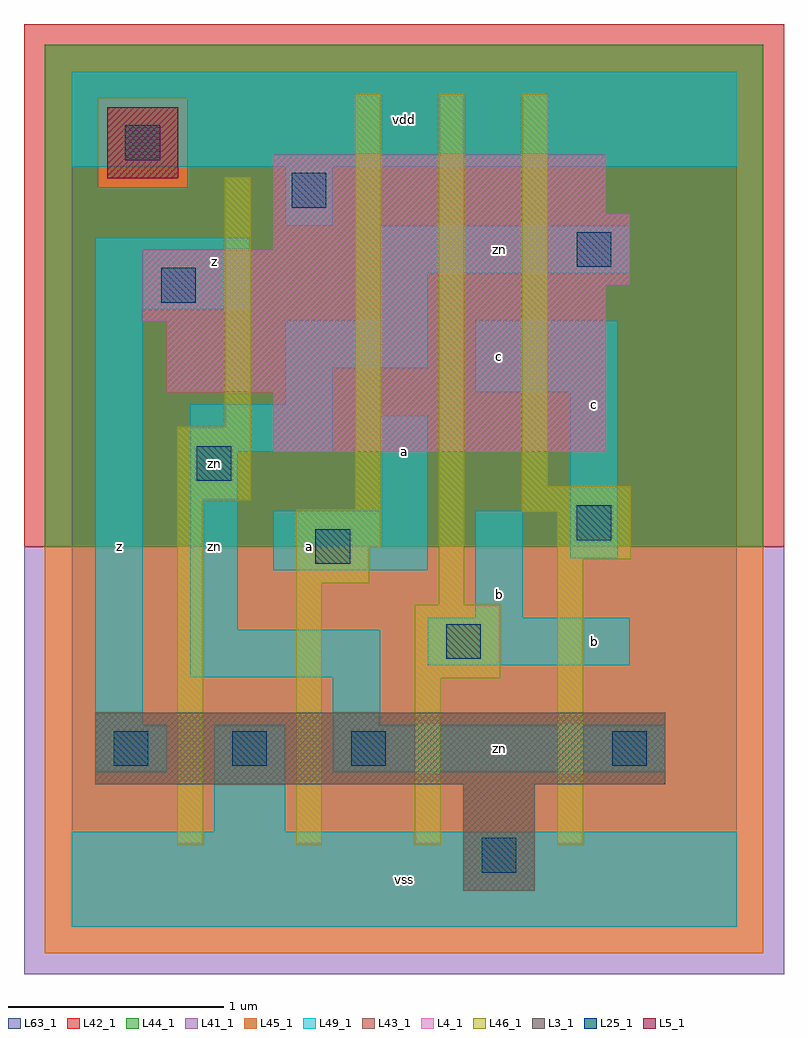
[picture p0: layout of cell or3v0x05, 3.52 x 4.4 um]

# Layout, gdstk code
import gdstk
lib = gdstk.Library(unit=1e-6, precision=1e-09)
def R(c, l, rs):  # rectangles x0, y0, x1, y1
    for r in rs: c.add(gdstk.rectangle(r[:2], r[2:], *l))
def A(c, l, x, y, w, h, nx, ny, dx, dy):  # array of equal rectangles
    R(c, l, [(x+i*dx, y+j*dy, x+i*dx+w, y+j*dy+h) for i in range(nx) for j in range(ny)])
L3_1 = (3, 1)
L4_1 = (4, 1)
L5_1 = (5, 1)
L25_1 = (25, 1)
L41_1 = (41, 1)
L42_1 = (42, 1)
L43_1 = (43, 1)
L44_1 = (44, 1)
L45_1 = (45, 1)
L46_1 = (46, 1)
L49_1 = (49, 1)
L63_1 = (63, 1)

or3v0x05 = lib.new_cell('or3v0x05')
R(or3v0x05, L3_1, [(1.815,0.165,2.145,0.66), (0.11,0.66,2.75,0.99)])
R(or3v0x05, L4_1, [(0.935,2.2,2.475,2.475), (0.44,2.475,2.475,2.805), (0.33,2.805,2.475,2.97), (0.33,2.97,2.585,3.135), (0.935,3.135,2.585,3.3), (0.935,3.3,2.475,3.575)])
R(or3v0x05, L5_1, [(0.165,3.465,0.495,3.795)])
A(or3v0x05, L25_1, 0.195, 0.745, 0.16, 0.16, 3, 1, 0.55, 0)
R(or3v0x05, L25_1, [(1.9,0.25,2.06,0.41), (2.505,0.745,2.665,0.905), (1.735,1.24,1.895,1.4), (1.13,1.68,1.29,1.84), (2.34,1.79,2.5,1.95), (0.58,2.065,0.74,2.225), (0.415,2.89,0.575,3.05), (2.34,3.055,2.5,3.215), (1.02,3.33,1.18,3.49), (0.25,3.55,0.41,3.71)])
R(or3v0x05, L41_1, [(-0.22,-0.22,3.3,1.76)])
R(or3v0x05, L42_1, [(-0.22,1.76,3.3,4.18)])
R(or3v0x05, L43_1, [(1.815,0.165,2.145,0.66), (0.11,0.66,2.75,0.99), (0.935,2.2,2.475,2.475), (0.44,2.475,2.475,2.805), (0.33,2.805,2.475,2.97), (0.33,2.97,2.585,3.135), (0.935,3.135,2.585,3.3), (0.935,3.3,2.475,3.575), (0.165,3.465,0.495,3.795)])
R(or3v0x05, L44_1, [(-0.125,1.76,3.205,3.425), (-0.125,3.425,0.125,3.835), (0.535,3.425,3.205,3.835), (-0.125,3.835,3.205,4.085)])
R(or3v0x05, L45_1, [(-0.125,-0.125,3.205,1.76), (0.125,3.425,0.535,3.835)])
R(or3v0x05, L46_1, [(0.49,0.38,0.61,1.975), (1.04,0.38,1.16,1.59), (1.59,0.38,1.71,1.15), (2.25,0.38,2.37,1.7), (1.59,1.15,1.985,1.49), (1.7,1.49,1.82,3.855), (1.04,1.59,1.38,1.755), (2.25,1.7,2.59,1.92), (1.04,1.755,1.435,1.93), (2.085,1.92,2.59,2.04), (1.315,1.93,1.435,3.855), (0.49,1.975,0.83,2.315), (2.085,2.04,2.205,3.855), (0.71,2.315,0.83,3.47)])
R(or3v0x05, L49_1, [(0,0,3.08,0.44), (0.66,0.44,0.99,0.935), (0.11,0.715,0.44,0.935), (1.21,0.715,2.75,0.935), (0.11,0.935,0.33,2.86), (1.21,0.935,1.43,1.155), (0.55,1.155,1.43,1.375), (1.65,1.21,2.585,1.43), (0.55,1.375,0.77,2.2), (1.87,1.43,2.09,1.925), (0.935,1.65,1.65,1.925), (2.31,1.705,2.53,2.475), (1.43,1.925,1.65,2.365), (0.55,2.2,1.21,2.42), (0.99,2.42,1.21,2.585), (1.87,2.475,2.53,2.805), (0.99,2.585,1.65,2.805), (1.43,2.805,1.65,3.025), (0.11,2.86,0.825,3.19), (1.43,3.025,2.585,3.245), (0.99,3.245,1.21,3.52), (0,3.52,3.08,3.96)])
R(or3v0x05, L63_1, [(0,0,3.08,3.96)])
or3v0x05.add(gdstk.Label('zn', (0.66,2.145), layer=49, texttype=1))
or3v0x05.add(gdstk.Label('z', (0.22,1.76), layer=49, texttype=1))
or3v0x05.add(gdstk.Label('a', (1.1,1.76), layer=49, texttype=1))
or3v0x05.add(gdstk.Label('zn', (0.66,1.76), layer=49, texttype=1))
or3v0x05.add(gdstk.Label('z', (0.66,3.08), layer=49, texttype=1))
or3v0x05.add(gdstk.Label('vss', (1.54,0.22), layer=49, texttype=1))
or3v0x05.add(gdstk.Label('b', (1.98,1.54), layer=49, texttype=1))
or3v0x05.add(gdstk.Label('a', (1.54,2.2), layer=49, texttype=1))
or3v0x05.add(gdstk.Label('c', (1.98,2.64), layer=49, texttype=1))
or3v0x05.add(gdstk.Label('vdd', (1.54,3.74), layer=49, texttype=1))
or3v0x05.add(gdstk.Label('zn', (1.98,0.825), layer=49, texttype=1))
or3v0x05.add(gdstk.Label('b', (2.42,1.32), layer=49, texttype=1))
or3v0x05.add(gdstk.Label('c', (2.42,2.42), layer=49, texttype=1))
or3v0x05.add(gdstk.Label('zn', (1.98,3.135), layer=49, texttype=1))

lib.write_gds('or3v0x05.gds')
